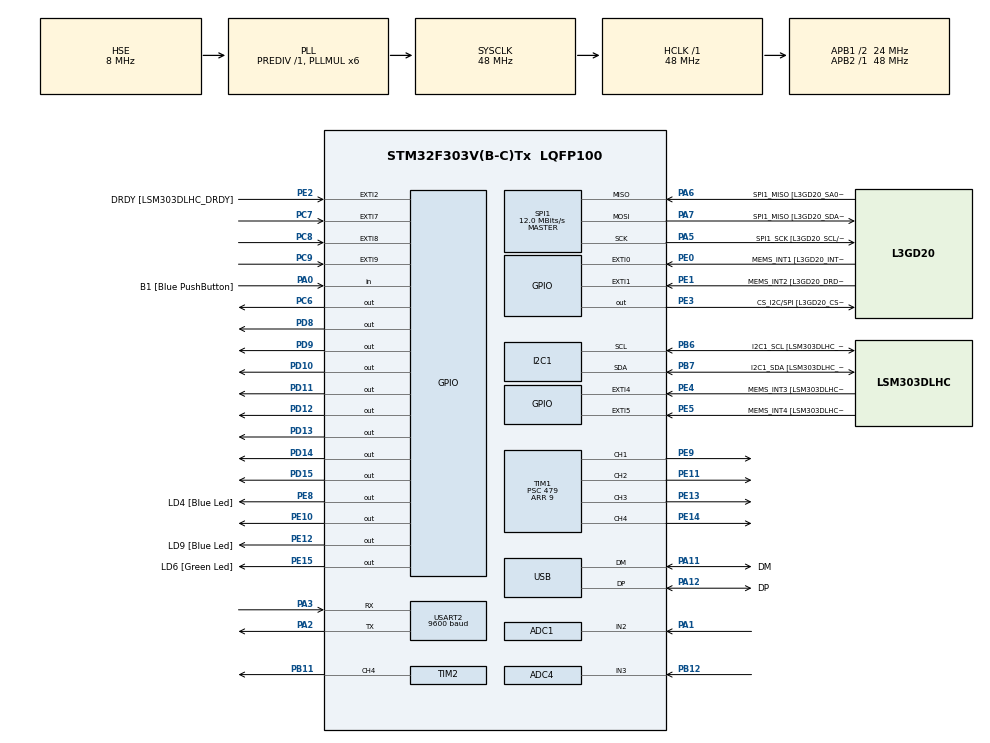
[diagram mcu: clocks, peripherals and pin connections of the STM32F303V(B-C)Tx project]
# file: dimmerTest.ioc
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ADC1.Channel-0\#ChannelRegularConversion=ADC_CHANNEL_2
ADC1.ClockPrescaler=ADC_CLOCK_SYNC_PCLK_DIV4
ADC1.NbrOfConversion=1
ADC1.NbrOfConversionFlag=1
ADC1.Offset-0\#ChannelRegularConversion=0
ADC1.OffsetNumber-0\#ChannelRegularConversion=ADC_OFFSET_NONE
ADC1.Rank-0\#ChannelRegularConversion=1
ADC1.SamplingTime-0\#ChannelRegularConversion=ADC_SAMPLETIME_601CYCLES_5
ADC1.master=1
ADC4.Channel-0\#ChannelRegularConversion=ADC_CHANNEL_3
ADC4.ClockPrescaler=ADC_CLOCK_SYNC_PCLK_DIV4
ADC4.NbrOfConversionFlag=1
ADC4.Offset-0\#ChannelRegularConversion=0
ADC4.OffsetNumber-0\#ChannelRegularConversion=ADC_OFFSET_NONE
ADC4.Rank-0\#ChannelRegularConversion=1
ADC4.Resolution=ADC_RESOLUTION_10B
ADC4.SamplingTime-0\#ChannelRegularConversion=ADC_SAMPLETIME_601CYCLES_5
ADC4.SamplingTimeOPAMP-0\#ChannelRegularConversion=ADC_SAMPLETIME_19CYCLES_5
I2C1.Timing-I2C=0x2000090E
Mcu.Family=STM32F3
Mcu.Name=STM32F303V(B-C)Tx
Mcu.Package=LQFP100
NVIC.ADC1_2_IRQn=true\:1\:0\:true\:false\:true\:true\:true\:true
NVIC.ADC4_IRQn=true\:0\:0\:false\:false\:true\:true\:true\:true
NVIC.EXTI9_5_IRQn=true\:0\:0\:false\:false\:true\:true\:true\:true
NVIC.PriorityGroup=NVIC_PRIORITYGROUP_2
NVIC.TIM1_BRK_TIM15_IRQn=true\:0\:0\:false\:false\:true\:true\:true\:true
NVIC.TIM1_CC_IRQn=true\:0\:0\:false\:false\:true\:true\:true\:true
NVIC.TIM1_TRG_COM_TIM17_IRQn=true\:0\:0\:false\:false\:true\:true\:true\:true
NVIC.TIM1_UP_TIM16_IRQn=true\:0\:0\:false\:false\:true\:true\:true\:true
NVIC.TIM3_IRQn=true\:0\:0\:false\:false\:true\:true\:true\:true
NVIC.USART2_IRQn=true\:0\:0\:false\:false\:true\:true\:true\:true
PA0.GPIO_Label=B1 [Blue PushButton]
PA0.Signal=GPIO_Input
PA1.Mode=IN2-Single-Ended
PA1.Signal=ADC1_IN2
PA11.GPIO_Label=DM
PA11.Mode=Device
PA11.Signal=USB_DM
PA12.GPIO_Label=DP
PA12.Mode=Device
PA12.Signal=USB_DP
PA13.GPIO_Label=SWDIO
PA13.Mode=Serial_Wire
PA13.Signal=SYS_JTMS-SWDIO
PA14.GPIO_Label=SWCLK
PA14.Mode=Serial_Wire
PA14.Signal=SYS_JTCK-SWCLK
PA2.Mode=Asynchronous
PA2.Signal=USART2_TX
PA3.Mode=Asynchronous
PA3.Signal=USART2_RX
PA5.GPIO_Label=SPI1_SCK [L3GD20_SCL/SPC]
PA5.Mode=Full_Duplex_Master
PA5.Signal=SPI1_SCK
PA6.GPIO_Label=SPI1_MISO [L3GD20_SA0/SDO]
PA6.Mode=Full_Duplex_Master
PA6.Signal=SPI1_MISO
PA7.GPIO_Label=SPI1_MISO [L3GD20_SDA/SDI/SDO]
PA7.Mode=Full_Duplex_Master
PA7.Signal=SPI1_MOSI
PB11.Signal=S_TIM2_CH4
PB12.Mode=IN3-Single-Ended
PB12.Signal=ADC4_IN3
PB3.GPIO_Label=SWO
PB3.Signal=SYS_JTDO-TRACESWO
PB6.GPIO_Label=I2C1_SCL [LSM303DLHC_SCL]
PB6.GPIO_Pu=GPIO_PULLUP
PB6.Mode=I2C
PB6.Signal=I2C1_SCL
PB7.GPIO_Label=I2C1_SDA [LSM303DLHC_SDA]
PB7.GPIO_Pu=GPIO_PULLUP
PB7.Mode=I2C
PB7.Signal=I2C1_SDA
PC14-OSC32_IN.GPIO_Label=OSC32_IN
PC14-OSC32_IN.Signal=RCC_OSC32_IN
PC15-OSC32_OUT.GPIO_Label=OSC32_OUT
PC15-OSC32_OUT.Signal=RCC_OSC32_OUT
PC6.Signal=GPIO_Output
PC7.GPIO_PuPd=GPIO_PULLUP
PC7.Signal=GPXTI7
PC8.GPIO_PuPd=GPIO_PULLUP
PC8.Signal=GPXTI8
PC9.GPIO_PuPd=GPIO_PULLUP
PC9.Signal=GPXTI9
PD10.Signal=GPIO_Output
PD11.Signal=GPIO_Output
PD12.Signal=GPIO_Output
PD13.Signal=GPIO_Output
PD14.Signal=GPIO_Output
PD15.Signal=GPIO_Output
PD8.Signal=GPIO_Output
PD9.Signal=GPIO_Output
PE0.GPIO_Label=MEMS_INT1 [L3GD20_INT1]
PE0.GPIO_ModeDefaultEXTI=GPIO_MODE_EVT_RISING
PE0.Signal=GPXTI0
PE1.GPIO_Label=MEMS_INT2 [L3GD20_DRDY/INT2]
PE1.GPIO_ModeDefaultEXTI=GPIO_MODE_EVT_RISING
PE1.Signal=GPXTI1
PE10.Signal=GPIO_Output
PE11.Signal=S_TIM1_CH2
PE12.GPIO_Label=LD9 [Blue Led]
PE12.Signal=GPIO_Output
PE13.Signal=S_TIM1_CH3
PE14.Signal=S_TIM1_CH4
PE15.GPIO_Label=LD6 [Green Led]
PE15.Signal=GPIO_Output
PE2.GPIO_Label=DRDY [LSM303DLHC_DRDY]
PE2.GPIO_ModeDefaultEXTI=GPIO_MODE_EVT_RISING
PE2.Signal=GPXTI2
PE3.GPIO_Label=CS_I2C/SPI [L3GD20_CS_I2C/SPI]
PE3.Signal=GPIO_Output
PE4.GPIO_Label=MEMS_INT3 [LSM303DLHC_INT1]
PE4.GPIO_ModeDefaultEXTI=GPIO_MODE_EVT_RISING
PE4.Signal=GPXTI4
PE5.GPIO_Label=MEMS_INT4 [LSM303DLHC_INT2]
PE5.GPIO_ModeDefaultEXTI=GPIO_MODE_EVT_RISING
PE5.Signal=GPXTI5
PE8.GPIO_Label=LD4 [Blue Led]
PE8.Signal=GPIO_Output
PE9.Signal=S_TIM1_CH1
PF0-OSC_IN.GPIO_Label=OSC_IN
PF0-OSC_IN.Mode=HSE-External-Clock-Source
PF0-OSC_IN.Signal=RCC_OSC_IN
PF1-OSC_OUT.GPIO_Label=OSC_OUT
PF1-OSC_OUT.Signal=RCC_OSC_OUT
ProjectManager.HeapSize=0x200
ProjectManager.StackSize=0x400
ProjectManager.TargetToolchain=STM32CubeIDE
RCC.AHBFreq_Value=48000000
RCC.APB1CLKDivider=RCC_HCLK_DIV2
RCC.APB1Freq_Value=24000000
RCC.APB1TimFreq_Value=48000000
RCC.APB2Freq_Value=48000000
RCC.APB2TimFreq_Value=48000000
RCC.CortexFreq_Value=48000000
RCC.HCLKFreq_Value=48000000
RCC.HSE_VALUE=8000000
RCC.HSI_VALUE=8000000
RCC.LSE_VALUE=32768
RCC.PLLMUL=RCC_PLL_MUL6
RCC.SYSCLKFreq_VALUE=48000000
RCC.SYSCLKSourceVirtual=RCC_SYSCLKSOURCE_PLLCLK
RCC.USBFreq_Value=48000000
SH.S_TIM1_CH1.0=TIM1_CH1,PWM Generation1 CH1
SH.S_TIM1_CH2.0=TIM1_CH2,PWM Generation2 CH2
SH.S_TIM1_CH3.0=TIM1_CH3,PWM Generation3 CH3
SH.S_TIM1_CH4.0=TIM1_CH4,PWM Generation4 CH4
SH.S_TIM2_CH4.0=TIM2_CH4,PWM Generation4 CH4
SPI1.BaudRatePrescaler=SPI_BAUDRATEPRESCALER_4
SPI1.BaudRatePrescaler-Full_Duplex_Master=SPI_BAUDRATEPRESCALER_2
SPI1.CalculateBaudRate=12.0 MBits/s
SPI1.CalculateBaudRate-Full_Duplex_Master=24.0 MBits/s
SPI1.Direction=SPI_DIRECTION_2LINES
SPI1.Mode=SPI_MODE_MASTER
SPI1.Mode-Full_Duplex_Master=SPI_MODE_MASTER
SPI1.VirtualType=VM_MASTER
TIM1.Channel-PWM\ Generation1\ CH1=TIM_CHANNEL_1
TIM1.Channel-PWM\ Generation2\ CH2=TIM_CHANNEL_2
TIM1.Channel-PWM\ Generation3\ CH3=TIM_CHANNEL_3
TIM1.Channel-PWM\ Generation4\ CH4=TIM_CHANNEL_4
TIM1.Period=9
TIM1.Prescaler=479
TIM2.Channel-PWM\ Generation4\ CH4=TIM_CHANNEL_4
TIM3.Period=999
TIM3.Prescaler=47
USART2.BaudRate=9600
USART2.VirtualMode-Asynchronous=VM_ASYNC
VP_TIM1_VS_ClockSourceINT.Mode=Internal
VP_TIM3_VS_ClockSourceINT.Mode=Internal
board=STM32F3DISCOVERY

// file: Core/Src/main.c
/* USER CODE BEGIN Header */
/**
  ******************************************************************************
  * @file           : main.c
  * @brief          : Main program body
  ******************************************************************************
  * @attention
  *
  * Copyright (c) 2023 STMicroelectronics.
  * All rights reserved.
  *
  * This software is licensed under terms that can be found in the LICENSE file
  * in the root directory of this software component.
  * If no LICENSE file comes with this software, it is provided AS-IS.
  *
  ******************************************************************************
  */
/* USER CODE END Header */
#include "main.h"

/* USER CODE BEGIN Includes */
#include "string.h"
/* USER CODE END Includes */

ADC_HandleTypeDef hadc1;
ADC_HandleTypeDef hadc4;

I2C_HandleTypeDef hi2c1;

SPI_HandleTypeDef hspi1;

TIM_HandleTypeDef htim1;
TIM_HandleTypeDef htim2;
TIM_HandleTypeDef htim3;

UART_HandleTypeDef huart2;

PCD_HandleTypeDef hpcd_USB_FS;

void SystemClock_Config(void);
static void MX_GPIO_Init(void);
static void MX_I2C1_Init(void);
static void MX_SPI1_Init(void);
static void MX_USB_PCD_Init(void);
static void MX_ADC1_Init(void);
static void MX_USART2_UART_Init(void);
static void MX_TIM1_Init(void);
static void MX_TIM2_Init(void);
static void MX_TIM3_Init(void);
static void MX_ADC4_Init(void);

/* USER CODE BEGIN 0 */

enum log_info{
	DIGIT_CHANGED,
	DIGIT_INCREASED,
	DIGIT_DECREASED,
	WAVE_CHANGED,
	DIMSTEP_INCREASED,
	DIMSTEP_DECREASED,
	NOT_VALID_VALUE,
	CRITICAL_SITUATION
};

typedef struct
{
    uint16_t frequency;
    uint16_t duration;
} Tone;

TIM_HandleTypeDef *pwm_timer = &htim2;	// Point to PWM Timer configured in CubeMX
uint32_t pwm_channel = TIM_CHANNEL_4;   // Select configured PWM channel number
uint32_t volume = 50;

int dimstep = 9;
int dim_v = 0;
int lights = 4;
int warnnum = 1;
int warncount = 0;
unsigned char in_data[100];
unsigned char message[50];
int treshhold = 0;
int env_light = -1;
int warnsit = 0;
int calib_input = 0;
int calibrating = 1;

Tone sinusoid[200];
Tone ramp[200];
Tone ustep[200];

const float pi = 3.1415;
const float step = 0.031415;

void writeLog(int log_info, int info) {
	switch (log_info) {
	case DIGIT_CHANGED :
			sprintf(message, "[INFO] Digit changed\n");
			break;
	case DIGIT_INCREASED :
			sprintf(message, "[INFO] Digit %d Increased\n", info);
			break;
	case DIGIT_DECREASED :
			sprintf(message, "[INFO] Digit %d Decreased\n", info);
			break;
	case WAVE_CHANGED :
			sprintf(message, "[INFO] Wave changed to %s\n", ( (info == 1) ? "sinusoid" : (info == 2) ? "step" : "ramp") );
			break;
	case DIMSTEP_INCREASED :
			sprintf(message, "[INFO] DimStep increased\n");
			break;
	case DIMSTEP_DECREASED :
			sprintf(message, "[INFO] DimStep decreased\n");
			break;
	case NOT_VALID_VALUE :
			sprintf(message, "[ERR] Not valid Value\n");
			break;
	case CRITICAL_SITUATION :
			sprintf(message, "[WARN] Critical Situation. Light value:%d\n", info);
			break;
	default :
			sprintf(message, "Unknown message\n");
			break;
	}
	HAL_UART_Transmit(&huart2, message, strlen(message), 1000);
}

void HAL_TIM_PeriodElapsedCallback(TIM_HandleTypeDef *htim)
{
	static uint32_t current_time = 0;
	static uint32_t current_tone_index = 0;
    if (htim->Instance == TIM3) {

    	if(warnsit && HAL_GetTick() - current_time > 5) {
    		current_tone_index = (current_tone_index + 1) % 200;
    		if (warnnum == 1)
    			PWM_Change_Tone(sinusoid[current_tone_index].frequency, volume);
    		else if (warnnum == 2)
    			PWM_Change_Tone(ustep[current_tone_index].frequency, volume);
    		else if (warnnum == 3)
    			PWM_Change_Tone(ramp[current_tone_index].frequency, volume);
    		current_time = HAL_GetTick();
    	}
    }
}

void Buzzer_PWM_Start()
{
    HAL_TIM_PWM_Start(pwm_timer, pwm_channel);
}

void Buzzer_PWM_Stop()
{
    HAL_TIM_PWM_Stop(pwm_timer, pwm_channel);
}

void PWM_Change_Tone(uint16_t pwm_freq, uint16_t volume) // pwm_freq (1 - 20000), volume (0 - 1000)
{
    if (pwm_freq == 0 || pwm_freq > 20000)
    {
        __HAL_TIM_SET_COMPARE(pwm_timer, pwm_channel, 0);
    }
    else
    {
        const uint32_t internal_clock_freq = HAL_RCC_GetSysClockFreq();
        const uint16_t prescaler = 1 + internal_clock_freq / pwm_freq / 60000;
        const uint32_t timer_clock = internal_clock_freq / prescaler;
        const uint32_t period_cycles = timer_clock / pwm_freq;
        const uint32_t pulse_width = volume * period_cycles / 1000 / 2;

        pwm_timer->Instance->PSC = prescaler - 1;
        pwm_timer->Instance->ARR = period_cycles - 1;
        pwm_timer->Instance->EGR = TIM_EGR_UG;
        __HAL_TIM_SET_COMPARE(pwm_timer, pwm_channel, pulse_width); // pwm_timer->Instance->CCR2 = pulse_width;
    }
}

int last_warn_change = -300;

void warn(int light) {

	if(HAL_GetTick() - last_warn_change < 300)
		return;
	Buzzer_PWM_Start();
	writeLog(CRITICAL_SITUATION, light);
	HAL_TIM_PWM_Stop(&htim1, TIM_CHANNEL_1);
	HAL_TIM_PWM_Stop(&htim1, TIM_CHANNEL_2);
	HAL_TIM_PWM_Stop(&htim1, TIM_CHANNEL_3);
	HAL_TIM_PWM_Stop(&htim1, TIM_CHANNEL_4);
	warncount++;
	last_warn_change = HAL_GetTick();
}

void warnOff() {

	if(HAL_GetTick() - last_warn_change < 300)
		return;
	Buzzer_PWM_Stop();
	HAL_TIM_PWM_Start(&htim1, TIM_CHANNEL_1);
	HAL_TIM_PWM_Start(&htim1, TIM_CHANNEL_2);
	HAL_TIM_PWM_Start(&htim1, TIM_CHANNEL_3);
	HAL_TIM_PWM_Start(&htim1, TIM_CHANNEL_4);
	PWM_Change_Tone(0, 0);
	last_warn_change = HAL_GetTick();

}

void Update_LEDs(){
	int ccr = dimstep * 10 + (dim_v - 9);
	ccr = ccr < 0 ? 0 : ccr;
	TIM1->CCR1 = (lights >= 1) ? ccr : 0;
	TIM1->CCR2 = (lights >= 2) ? ccr : 0;
	TIM1->CCR3 = (lights >= 3) ? ccr : 0;
	TIM1->CCR4 = (lights >= 4) ? ccr : 0;
}

void HAL_ADC_ConvCpltCallback(ADC_HandleTypeDef* hadc)
{
	if (hadc->Instance == ADC1){
		static int adc1_call_counter = 0;
		static int sample = 0;
		static int buff[10];
		int x;
		if (adc1_call_counter < 1000){
			adc1_call_counter++;
			HAL_ADC_Start_IT(&hadc1);
			return;
		}
		adc1_call_counter = 0;
		buff[sample] = HAL_ADC_GetValue(&hadc1);
		sample += 1;
		if(sample == 10) {
			sample = 0;
			x = 0;
			for(int i = 0; i < 10; ++i) {
				x = (x > buff[i]) ? x : buff[i];
			}

			// Save env_light once if calibrating
			if (calibrating == 1){
				if (env_light == -1){
					env_light = HAL_ADC_GetValue(&hadc1);
					sprintf(message, "env_light=%d\n", env_light);
					HAL_UART_Transmit(&huart2, message, strlen(message), 1000);
				}
				// Stop ADC IT execution, until restarted in external interrupt handler (any key press)
				return;
			}

			if(x > treshhold && warnsit == 0) {
					warnsit = 1;
					warn(x);
			} else if(x <= treshhold && warnsit == 1) {
				warnOff();
				warnsit = 0;
			}
		}
		HAL_ADC_Start_IT(&hadc1);
	}
	else if (hadc->Instance == ADC4){
		static int adc4_call_counter = 0;
		if (adc4_call_counter < 10000){
			adc4_call_counter++;
			HAL_ADC_Start_IT(&hadc4);
			return;
		}
		adc4_call_counter = 0;
		int adc4_value = HAL_ADC_GetValue(&hadc4);
		if (calibrating == 1){
			// Remove mod 20
			calib_input = adc4_value - (adc4_value % 20);
		}
		else{
			adc4_value = adc4_value / 1024.0 * 18; // [0-18] range
			if (dim_v != adc4_value){
				dim_v = adc4_value;
				Update_LEDs();
			}
		}
		HAL_ADC_Start_IT(&hadc4);
	}
}

void setDimstep(int val) {
	if(val >= 0 && val <= 9) {
		if(val > dimstep)
			writeLog(DIMSTEP_INCREASED, 0);
		else
			writeLog(DIMSTEP_DECREASED, 0);
		dimstep = val;
		Update_LEDs();
	} else {
		writeLog(NOT_VALID_VALUE, 0);
	}
}

void setLights(int val) {
	if(val >= 0 && val <= 4) {
		lights = val;
		Update_LEDs();
	}
	else {
		writeLog(NOT_VALID_VALUE, 0);
	}
}

void setWarnnum(int val) {
	if(val >= 1 && val <= 3) {
		warnnum = val;
		writeLog(WAVE_CHANGED, warnnum);
	}
	else {
		writeLog(NOT_VALID_VALUE, 0);
	}
}

void HAL_UART_RxCpltCallback(UART_HandleTypeDef *huart)
{

    if (huart->Instance == USART2)
    {
    	static unsigned char command[10];
    	static int in_val;
    	if(in_data[0] == 'D') {
    		HAL_UART_Receive(&huart2, in_data, 1, 100);
    		message[0] = '\n';
    		HAL_UART_Transmit(&huart2, message, 1, 100);
    		in_val = in_data[0] - '0';
    		setDimstep(in_val);
    	}
    	else if(in_data[0] == 'L') {
    		message[0] = '\n';
    		HAL_UART_Transmit(&huart2, message, 1, 100);
    		in_val = in_data[7] - '0';
    		setLights(in_val);
    	}
    	else if(in_data[0] == 'W') {
    		HAL_UART_Receive(&huart2, in_data, 1, 100);
    		in_val = in_data[0] - '0';
    		setWarnnum(in_val);
    	}
    	sprintf(message, "\n");
    	HAL_UART_Transmit(&huart2, message, 1, 1000);
    	HAL_UART_Receive_IT(&huart2, in_data, 8);

    }
}
void display_digit(int n, int d, int delay, int dp){
	// Which of the four digits is this
	// Active high 7-segment, low pin -> digit on
    HAL_GPIO_WritePin(GPIOD, GPIO_PIN_12, d == 0 ? 0 : 1);
    HAL_GPIO_WritePin(GPIOD, GPIO_PIN_13, d == 1 ? 0 : 1);
    HAL_GPIO_WritePin(GPIOD, GPIO_PIN_14, d == 2 ? 0 : 1);
    HAL_GPIO_WritePin(GPIOD, GPIO_PIN_15, d == 3 ? 0 : 1);

    // ABCD BCD Output
    HAL_GPIO_WritePin(GPIOD, GPIO_PIN_8, (n == 1 || n == 3 || n == 5 || n == 7 || n == 9));
    HAL_GPIO_WritePin(GPIOD, GPIO_PIN_9, (n == 2 || n == 3 || n == 6 || n == 7));
    HAL_GPIO_WritePin(GPIOD, GPIO_PIN_10, (n == 4 || n == 5 || n == 6 || n == 7));
    HAL_GPIO_WritePin(GPIOD, GPIO_PIN_11, (n == 8 || n == 9));

    // Is decimal point on or off for digit?
    HAL_GPIO_WritePin(GPIOC, GPIO_PIN_6, dp == 1 ? 1 : 0);
    HAL_Delay(delay);
  }
int selected = 1;
uint32_t last_interrupt = 0;
void HAL_GPIO_EXTI_Callback(uint16_t GPIO_Pin){
	if (last_interrupt == 0)
		last_interrupt = HAL_GetTick();
	else if (HAL_GetTick()-last_interrupt < 200){
		return;
	}
	else
		last_interrupt = HAL_GetTick();

	// Press any key to finish calibrating
	if (calibrating == 1){
		treshhold = env_light+calib_input;
		sprintf(message, "threshold=%d\n", treshhold);
		HAL_UART_Transmit(&huart2, message, strlen(message), 1000);
		End_Calibrate();
		return;
	}
	if (GPIO_Pin == GPIO_PIN_7){
		if (selected == 1)
		  selected = 3;
		else
		  selected -= 1;
	}
	if (GPIO_Pin == GPIO_PIN_8){
		writeLog(DIGIT_CHANGED, 0);
		writeLog(DIGIT_INCREASED, selected);
		if (selected == 1){
			setWarnnum((warnnum < 3 ? warnnum + 1 : 1));
		}
		else if (selected == 2){
			setLights((lights + 1) % 5);
		}
		else if (selected == 3){
			setDimstep((dimstep + 1) % 10);
		}
	}
	if (GPIO_Pin == GPIO_PIN_9){
		writeLog(DIGIT_CHANGED, 0);
		writeLog(DIGIT_DECREASED, selected);
		if (selected == 1){
			warnnum = warnnum >  1 ? warnnum - 1 : 3;
		}
		else if (selected == 2){
			setLights(lights > 0 ? lights - 1 : 4);
		}
		else if (selected == 3){
			setDimstep(dimstep > 0 ? dimstep - 1 : 9);
		}
	}
}
void End_Calibrate(){
	// Turn on lights
	setDimstep(dimstep);
	HAL_TIM_PWM_Start(&htim1, TIM_CHANNEL_1);
	HAL_TIM_PWM_Start(&htim1, TIM_CHANNEL_2);
	HAL_TIM_PWM_Start(&htim1, TIM_CHANNEL_3);
	HAL_TIM_PWM_Start(&htim1, TIM_CHANNEL_4);
	// Turn on UART Receive
	HAL_UART_Receive_IT(&huart2, in_data, 8);
	// Restart ADC1 (LDR)
	HAL_ADC_Start_IT(&hadc1);

	calibrating = 0;
}
/* USER CODE END 0 */

int main(void)
{
  /* USER CODE BEGIN 1 */
	double f = 0;
	for(int i = 0; i < 200; ++i) {
		sinusoid[i].frequency = round(sin(f) * 2000 + 2000);
		sinusoid[i].duration = 5;
		f += step;
	}

	for(int i = 0; i < 200; ++i) {
		ramp[i].frequency = i * 20;
		ramp[i].duration = 5;
	}

	for(int i = 0; i < 200; ++i) {
		ustep[i].frequency = (i < 100) ? 10 : 4000;
		ustep[i].duration = 5;
	}

  /* USER CODE END 1 */

  /* MCU Configuration--------------------------------------------------------*/

  /* Reset of all peripherals, Initializes the Flash interface and the Systick. */
  HAL_Init();

  /* Configure the system clock */
  SystemClock_Config();

  /* Initialize all configured peripherals */
  MX_GPIO_Init();
  MX_I2C1_Init();
  MX_SPI1_Init();
  MX_USB_PCD_Init();
  MX_ADC1_Init();
  MX_USART2_UART_Init();
  MX_TIM1_Init();
  MX_TIM2_Init();
  MX_TIM3_Init();
  MX_ADC4_Init();

  /* Infinite loop */
  /* USER CODE BEGIN WHILE */

  HAL_ADC_Start_IT(&hadc1);
  HAL_ADC_Start_IT(&hadc4);
  HAL_TIM_Base_Start_IT(&htim3);

  while (1)
  {

    /* USER CODE END WHILE */

    /* USER CODE BEGIN 3 */
	  if (calibrating == 1){
		  display_digit(calib_input % 10, 0, 2, 0);
		  display_digit((calib_input / 10) % 10, 1, 2, 0);
		  display_digit((calib_input / 100) % 10, 2, 2, 0);
		  display_digit((calib_input / 1000) % 10, 3, 2, 0);
	  }
	  else{
		  display_digit(warncount, 0, 2, selected == 0);
		  display_digit(warnnum, 1, 2, selected == 1);
		  display_digit(lights, 2, 2, selected == 2);
		  display_digit(dimstep, 3, 2, selected == 3);
	  }
  }
  /* USER CODE END 3 */
}

void SystemClock_Config(void)
{
  RCC_OscInitTypeDef RCC_OscInitStruct = {0};
  RCC_ClkInitTypeDef RCC_ClkInitStruct = {0};
  RCC_PeriphCLKInitTypeDef PeriphClkInit = {0};

  /** Initializes the RCC Oscillators according to the specified parameters
  * in the RCC_OscInitTypeDef structure.
  */
  RCC_OscInitStruct.OscillatorType = RCC_OSCILLATORTYPE_HSI|RCC_OSCILLATORTYPE_HSE;
  RCC_OscInitStruct.HSEState = RCC_HSE_BYPASS;
  RCC_OscInitStruct.HSEPredivValue = RCC_HSE_PREDIV_DIV1;
  RCC_OscInitStruct.HSIState = RCC_HSI_ON;
  RCC_OscInitStruct.HSICalibrationValue = RCC_HSICALIBRATION_DEFAULT;
  RCC_OscInitStruct.PLL.PLLState = RCC_PLL_ON;
  RCC_OscInitStruct.PLL.PLLSource = RCC_PLLSOURCE_HSE;
  RCC_OscInitStruct.PLL.PLLMUL = RCC_PLL_MUL6;
  if (HAL_RCC_OscConfig(&RCC_OscInitStruct) != HAL_OK)
  {
    Error_Handler();
  }

  /** Initializes the CPU, AHB and APB buses clocks
  */
  RCC_ClkInitStruct.ClockType = RCC_CLOCKTYPE_HCLK|RCC_CLOCKTYPE_SYSCLK
                              |RCC_CLOCKTYPE_PCLK1|RCC_CLOCKTYPE_PCLK2;
  RCC_ClkInitStruct.SYSCLKSource = RCC_SYSCLKSOURCE_PLLCLK;
  RCC_ClkInitStruct.AHBCLKDivider = RCC_SYSCLK_DIV1;
  RCC_ClkInitStruct.APB1CLKDivider = RCC_HCLK_DIV2;
  RCC_ClkInitStruct.APB2CLKDivider = RCC_HCLK_DIV1;

  if (HAL_RCC_ClockConfig(&RCC_ClkInitStruct, FLASH_LATENCY_1) != HAL_OK)
  {
    Error_Handler();
  }
  PeriphClkInit.PeriphClockSelection = RCC_PERIPHCLK_USB|RCC_PERIPHCLK_USART2
                              |RCC_PERIPHCLK_I2C1|RCC_PERIPHCLK_TIM1;
  PeriphClkInit.Usart2ClockSelection = RCC_USART2CLKSOURCE_PCLK1;
  PeriphClkInit.I2c1ClockSelection = RCC_I2C1CLKSOURCE_HSI;
  PeriphClkInit.USBClockSelection = RCC_USBCLKSOURCE_PLL;
  PeriphClkInit.Tim1ClockSelection = RCC_TIM1CLK_HCLK;
  if (HAL_RCCEx_PeriphCLKConfig(&PeriphClkInit) != HAL_OK)
  {
    Error_Handler();
  }
}

static void MX_ADC1_Init(void)
{

  ADC_MultiModeTypeDef multimode = {0};
  ADC_ChannelConfTypeDef sConfig = {0};

  /** Common config
  */
  hadc1.Instance = ADC1;
  hadc1.Init.ClockPrescaler = ADC_CLOCK_SYNC_PCLK_DIV4;
  hadc1.Init.Resolution = ADC_RESOLUTION_12B;
  hadc1.Init.ScanConvMode = ADC_SCAN_DISABLE;
  hadc1.Init.ContinuousConvMode = DISABLE;
  hadc1.Init.DiscontinuousConvMode = DISABLE;
  hadc1.Init.ExternalTrigConvEdge = ADC_EXTERNALTRIGCONVEDGE_NONE;
  hadc1.Init.ExternalTrigConv = ADC_SOFTWARE_START;
  hadc1.Init.DataAlign = ADC_DATAALIGN_RIGHT;
  hadc1.Init.NbrOfConversion = 1;
  hadc1.Init.DMAContinuousRequests = DISABLE;
  hadc1.Init.EOCSelection = ADC_EOC_SINGLE_CONV;
  hadc1.Init.LowPowerAutoWait = DISABLE;
  hadc1.Init.Overrun = ADC_OVR_DATA_OVERWRITTEN;
  if (HAL_ADC_Init(&hadc1) != HAL_OK)
  {
    Error_Handler();
  }

  /** Configure the ADC multi-mode
  */
  multimode.Mode = ADC_MODE_INDEPENDENT;
  if (HAL_ADCEx_MultiModeConfigChannel(&hadc1, &multimode) != HAL_OK)
  {
    Error_Handler();
  }

  /** Configure Regular Channel
  */
  sConfig.Channel = ADC_CHANNEL_2;
  sConfig.Rank = ADC_REGULAR_RANK_1;
  sConfig.SingleDiff = ADC_SINGLE_ENDED;
  sConfig.SamplingTime = ADC_SAMPLETIME_601CYCLES_5;
  sConfig.OffsetNumber = ADC_OFFSET_NONE;
  sConfig.Offset = 0;
  if (HAL_ADC_ConfigChannel(&hadc1, &sConfig) != HAL_OK)
  {
    Error_Handler();
  }

}

static void MX_ADC4_Init(void)
{

  ADC_ChannelConfTypeDef sConfig = {0};

  /** Common config
  */
  hadc4.Instance = ADC4;
  hadc4.Init.ClockPrescaler = ADC_CLOCK_SYNC_PCLK_DIV4;
  hadc4.Init.Resolution = ADC_RESOLUTION_10B;
  hadc4.Init.ScanConvMode = ADC_SCAN_DISABLE;
  hadc4.Init.ContinuousConvMode = DISABLE;
  hadc4.Init.DiscontinuousConvMode = DISABLE;
  hadc4.Init.ExternalTrigConvEdge = ADC_EXTERNALTRIGCONVEDGE_NONE;
  hadc4.Init.ExternalTrigConv = ADC_SOFTWARE_START;
  hadc4.Init.DataAlign = ADC_DATAALIGN_RIGHT;
  hadc4.Init.NbrOfConversion = 1;
  hadc4.Init.DMAContinuousRequests = DISABLE;
  hadc4.Init.EOCSelection = ADC_EOC_SINGLE_CONV;
  hadc4.Init.LowPowerAutoWait = DISABLE;
  hadc4.Init.Overrun = ADC_OVR_DATA_OVERWRITTEN;
  if (HAL_ADC_Init(&hadc4) != HAL_OK)
  {
    Error_Handler();
  }

  /** Configure Regular Channel
  */
  sConfig.Channel = ADC_CHANNEL_3;
  sConfig.Rank = ADC_REGULAR_RANK_1;
  sConfig.SingleDiff = ADC_SINGLE_ENDED;
  sConfig.SamplingTime = ADC_SAMPLETIME_601CYCLES_5;
  sConfig.OffsetNumber = ADC_OFFSET_NONE;
  sConfig.Offset = 0;
  if (HAL_ADC_ConfigChannel(&hadc4, &sConfig) != HAL_OK)
  {
    Error_Handler();
  }

}

static void MX_I2C1_Init(void)
{

  hi2c1.Instance = I2C1;
  hi2c1.Init.Timing = 0x2000090E;
  hi2c1.Init.OwnAddress1 = 0;
  hi2c1.Init.AddressingMode = I2C_ADDRESSINGMODE_7BIT;
  hi2c1.Init.DualAddressMode = I2C_DUALADDRESS_DISABLE;
  hi2c1.Init.OwnAddress2 = 0;
  hi2c1.Init.OwnAddress2Masks = I2C_OA2_NOMASK;
  hi2c1.Init.GeneralCallMode = I2C_GENERALCALL_DISABLE;
  hi2c1.Init.NoStretchMode = I2C_NOSTRETCH_DISABLE;
  if (HAL_I2C_Init(&hi2c1) != HAL_OK)
  {
    Error_Handler();
  }

  /** Configure Analogue filter
  */
  if (HAL_I2CEx_ConfigAnalogFilter(&hi2c1, I2C_ANALOGFILTER_ENABLE) != HAL_OK)
  {
    Error_Handler();
  }

  /** Configure Digital filter
  */
  if (HAL_I2CEx_ConfigDigitalFilter(&hi2c1, 0) != HAL_OK)
  {
    Error_Handler();
  }

}

static void MX_SPI1_Init(void)
{

  /* SPI1 parameter configuration*/
  hspi1.Instance = SPI1;
  hspi1.Init.Mode = SPI_MODE_MASTER;
  hspi1.Init.Direction = SPI_DIRECTION_2LINES;
  hspi1.Init.DataSize = SPI_DATASIZE_4BIT;
  hspi1.Init.CLKPolarity = SPI_POLARITY_LOW;
  hspi1.Init.CLKPhase = SPI_PHASE_1EDGE;
  hspi1.Init.NSS = SPI_NSS_SOFT;
  hspi1.Init.BaudRatePrescaler = SPI_BAUDRATEPRESCALER_4;
  hspi1.Init.FirstBit = SPI_FIRSTBIT_MSB;
  hspi1.Init.TIMode = SPI_TIMODE_DISABLE;
  hspi1.Init.CRCCalculation = SPI_CRCCALCULATION_DISABLE;
  hspi1.Init.CRCPolynomial = 7;
  hspi1.Init.CRCLength = SPI_CRC_LENGTH_DATASIZE;
  hspi1.Init.NSSPMode = SPI_NSS_PULSE_ENABLE;
  if (HAL_SPI_Init(&hspi1) != HAL_OK)
  {
    Error_Handler();
  }

}

static void MX_TIM1_Init(void)
{

  TIM_ClockConfigTypeDef sClockSourceConfig = {0};
  TIM_MasterConfigTypeDef sMasterConfig = {0};
  TIM_OC_InitTypeDef sConfigOC = {0};
  TIM_BreakDeadTimeConfigTypeDef sBreakDeadTimeConfig = {0};

  htim1.Instance = TIM1;
  htim1.Init.Prescaler = 479;
  htim1.Init.CounterMode = TIM_COUNTERMODE_UP;
  htim1.Init.Period = 9;
  htim1.Init.ClockDivision = TIM_CLOCKDIVISION_DIV1;
  htim1.Init.RepetitionCounter = 0;
  htim1.Init.AutoReloadPreload = TIM_AUTORELOAD_PRELOAD_DISABLE;
  if (HAL_TIM_Base_Init(&htim1) != HAL_OK)
  {
    Error_Handler();
  }
  sClockSourceConfig.ClockSource = TIM_CLOCKSOURCE_INTERNAL;
  if (HAL_TIM_ConfigClockSource(&htim1, &sClockSourceConfig) != HAL_OK)
  {
    Error_Handler();
  }
  if (HAL_TIM_PWM_Init(&htim1) != HAL_OK)
  {
    Error_Handler();
  }
  sMasterConfig.MasterOutputTrigger = TIM_TRGO_RESET;
  sMasterConfig.MasterOutputTrigger2 = TIM_TRGO2_RESET;
  sMasterConfig.MasterSlaveMode = TIM_MASTERSLAVEMODE_DISABLE;
  if (HAL_TIMEx_MasterConfigSynchronization(&htim1, &sMasterConfig) != HAL_OK)
  {
    Error_Handler();
  }
  sConfigOC.OCMode = TIM_OCMODE_PWM1;
  sConfigOC.Pulse = 0;
  sConfigOC.OCPolarity = TIM_OCPOLARITY_HIGH;
  sConfigOC.OCNPolarity = TIM_OCNPOLARITY_HIGH;
  sConfigOC.OCFastMode = TIM_OCFAST_DISABLE;
  sConfigOC.OCIdleState = TIM_OCIDLESTATE_RESET;
  sConfigOC.OCNIdleState = TIM_OCNIDLESTATE_RESET;
  if (HAL_TIM_PWM_ConfigChannel(&htim1, &sConfigOC, TIM_CHANNEL_1) != HAL_OK)
  {
    Error_Handler();
  }
  if (HAL_TIM_PWM_ConfigChannel(&htim1, &sConfigOC, TIM_CHANNEL_2) != HAL_OK)
  {
    Error_Handler();
  }
  if (HAL_TIM_PWM_ConfigChannel(&htim1, &sConfigOC, TIM_CHANNEL_3) != HAL_OK)
  {
    Error_Handler();
  }
  if (HAL_TIM_PWM_ConfigChannel(&htim1, &sConfigOC, TIM_CHANNEL_4) != HAL_OK)
  {
    Error_Handler();
  }
  sBreakDeadTimeConfig.OffStateRunMode = TIM_OSSR_DISABLE;
  sBreakDeadTimeConfig.OffStateIDLEMode = TIM_OSSI_DISABLE;
  sBreakDeadTimeConfig.LockLevel = TIM_LOCKLEVEL_OFF;
  sBreakDeadTimeConfig.DeadTime = 0;
  sBreakDeadTimeConfig.BreakState = TIM_BREAK_DISABLE;
  sBreakDeadTimeConfig.BreakPolarity = TIM_BREAKPOLARITY_HIGH;
  sBreakDeadTimeConfig.BreakFilter = 0;
  sBreakDeadTimeConfig.Break2State = TIM_BREAK2_DISABLE;
  sBreakDeadTimeConfig.Break2Polarity = TIM_BREAK2POLARITY_HIGH;
  sBreakDeadTimeConfig.Break2Filter = 0;
  sBreakDeadTimeConfig.AutomaticOutput = TIM_AUTOMATICOUTPUT_DISABLE;
  if (HAL_TIMEx_ConfigBreakDeadTime(&htim1, &sBreakDeadTimeConfig) != HAL_OK)
  {
    Error_Handler();
  }
  HAL_TIM_MspPostInit(&htim1);

}

static void MX_TIM2_Init(void)
{

  TIM_MasterConfigTypeDef sMasterConfig = {0};
  TIM_OC_InitTypeDef sConfigOC = {0};

  htim2.Instance = TIM2;
  htim2.Init.Prescaler = 0;
  htim2.Init.CounterMode = TIM_COUNTERMODE_UP;
  htim2.Init.Period = 4294967295;
  htim2.Init.ClockDivision = TIM_CLOCKDIVISION_DIV1;
  htim2.Init.AutoReloadPreload = TIM_AUTORELOAD_PRELOAD_DISABLE;
  if (HAL_TIM_PWM_Init(&htim2) != HAL_OK)
  {
    Error_Handler();
  }
  sMasterConfig.MasterOutputTrigger = TIM_TRGO_RESET;
  sMasterConfig.MasterSlaveMode = TIM_MASTERSLAVEMODE_DISABLE;
  if (HAL_TIMEx_MasterConfigSynchronization(&htim2, &sMasterConfig) != HAL_OK)
  {
    Error_Handler();
  }
  sConfigOC.OCMode = TIM_OCMODE_PWM1;
  sConfigOC.Pulse = 0;
  sConfigOC.OCPolarity = TIM_OCPOLARITY_HIGH;
  sConfigOC.OCFastMode = TIM_OCFAST_DISABLE;
  if (HAL_TIM_PWM_ConfigChannel(&htim2, &sConfigOC, TIM_CHANNEL_4) != HAL_OK)
  {
    Error_Handler();
  }
  HAL_TIM_MspPostInit(&htim2);

}

static void MX_TIM3_Init(void)
{

  TIM_ClockConfigTypeDef sClockSourceConfig = {0};
  TIM_MasterConfigTypeDef sMasterConfig = {0};

  htim3.Instance = TIM3;
  htim3.Init.Prescaler = 47;
  htim3.Init.CounterMode = TIM_COUNTERMODE_UP;
  htim3.Init.Period = 999;
  htim3.Init.ClockDivision = TIM_CLOCKDIVISION_DIV1;
  htim3.Init.AutoReloadPreload = TIM_AUTORELOAD_PRELOAD_DISABLE;
  if (HAL_TIM_Base_Init(&htim3) != HAL_OK)
  {
    Error_Handler();
  }
  sClockSourceConfig.ClockSource = TIM_CLOCKSOURCE_INTERNAL;
  if (HAL_TIM_ConfigClockSource(&htim3, &sClockSourceConfig) != HAL_OK)
  {
    Error_Handler();
  }
  sMasterConfig.MasterOutputTrigger = TIM_TRGO_RESET;
  sMasterConfig.MasterSlaveMode = TIM_MASTERSLAVEMODE_DISABLE;
  if (HAL_TIMEx_MasterConfigSynchronization(&htim3, &sMasterConfig) != HAL_OK)
  {
    Error_Handler();
  }

}

static void MX_USART2_UART_Init(void)
{

  huart2.Instance = USART2;
  huart2.Init.BaudRate = 9600;
  huart2.Init.WordLength = UART_WORDLENGTH_8B;
  huart2.Init.StopBits = UART_STOPBITS_1;
  huart2.Init.Parity = UART_PARITY_NONE;
  huart2.Init.Mode = UART_MODE_TX_RX;
  huart2.Init.HwFlowCtl = UART_HWCONTROL_NONE;
  huart2.Init.OverSampling = UART_OVERSAMPLING_16;
  huart2.Init.OneBitSampling = UART_ONE_BIT_SAMPLE_DISABLE;
  huart2.AdvancedInit.AdvFeatureInit = UART_ADVFEATURE_NO_INIT;
  if (HAL_UART_Init(&huart2) != HAL_OK)
  {
    Error_Handler();
  }

}

static void MX_USB_PCD_Init(void)
{

  hpcd_USB_FS.Instance = USB;
  hpcd_USB_FS.Init.dev_endpoints = 8;
  hpcd_USB_FS.Init.speed = PCD_SPEED_FULL;
  hpcd_USB_FS.Init.phy_itface = PCD_PHY_EMBEDDED;
  hpcd_USB_FS.Init.low_power_enable = DISABLE;
  hpcd_USB_FS.Init.battery_charging_enable = DISABLE;
  if (HAL_PCD_Init(&hpcd_USB_FS) != HAL_OK)
  {
    Error_Handler();
  }

}

static void MX_GPIO_Init(void)
{
  GPIO_InitTypeDef GPIO_InitStruct = {0};

  /* GPIO Ports Clock Enable */
  __HAL_RCC_GPIOE_CLK_ENABLE();
  __HAL_RCC_GPIOC_CLK_ENABLE();
  __HAL_RCC_GPIOF_CLK_ENABLE();
  __HAL_RCC_GPIOA_CLK_ENABLE();
  __HAL_RCC_GPIOB_CLK_ENABLE();
  __HAL_RCC_GPIOD_CLK_ENABLE();

  /*Configure GPIO pin Output Level */
  HAL_GPIO_WritePin(GPIOE, CS_I2C_SPI_Pin|LD4_Pin|GPIO_PIN_10|LD9_Pin
                          |LD6_Pin, GPIO_PIN_RESET);

  /*Configure GPIO pin Output Level */
  HAL_GPIO_WritePin(GPIOD, GPIO_PIN_8|GPIO_PIN_9|GPIO_PIN_10|GPIO_PIN_11
                          |GPIO_PIN_12|GPIO_PIN_13|GPIO_PIN_14|GPIO_PIN_15, GPIO_PIN_RESET);

  /*Configure GPIO pin Output Level */
  HAL_GPIO_WritePin(GPIOC, GPIO_PIN_6, GPIO_PIN_RESET);

  /*Configure GPIO pins : DRDY_Pin MEMS_INT3_Pin MEMS_INT4_Pin MEMS_INT1_Pin
                           MEMS_INT2_Pin */
  GPIO_InitStruct.Pin = DRDY_Pin|MEMS_INT3_Pin|MEMS_INT4_Pin|MEMS_INT1_Pin
                          |MEMS_INT2_Pin;
  GPIO_InitStruct.Mode = GPIO_MODE_EVT_RISING;
  GPIO_InitStruct.Pull = GPIO_NOPULL;
  HAL_GPIO_Init(GPIOE, &GPIO_InitStruct);

  /*Configure GPIO pins : CS_I2C_SPI_Pin LD4_Pin PE10 LD9_Pin
                           LD6_Pin */
  GPIO_InitStruct.Pin = CS_I2C_SPI_Pin|LD4_Pin|GPIO_PIN_10|LD9_Pin
                          |LD6_Pin;
  GPIO_InitStruct.Mode = GPIO_MODE_OUTPUT_PP;
  GPIO_InitStruct.Pull = GPIO_NOPULL;
  GPIO_InitStruct.Speed = GPIO_SPEED_FREQ_LOW;
  HAL_GPIO_Init(GPIOE, &GPIO_InitStruct);

  /*Configure GPIO pin : B1_Pin */
  GPIO_InitStruct.Pin = B1_Pin;
  GPIO_InitStruct.Mode = GPIO_MODE_INPUT;
  GPIO_InitStruct.Pull = GPIO_NOPULL;
  HAL_GPIO_Init(B1_GPIO_Port, &GPIO_InitStruct);

  /*Configure GPIO pins : PD8 PD9 PD10 PD11
                           PD12 PD13 PD14 PD15 */
  GPIO_InitStruct.Pin = GPIO_PIN_8|GPIO_PIN_9|GPIO_PIN_10|GPIO_PIN_11
                          |GPIO_PIN_12|GPIO_PIN_13|GPIO_PIN_14|GPIO_PIN_15;
  GPIO_InitStruct.Mode = GPIO_MODE_OUTPUT_PP;
  GPIO_InitStruct.Pull = GPIO_NOPULL;
  GPIO_InitStruct.Speed = GPIO_SPEED_FREQ_LOW;
  HAL_GPIO_Init(GPIOD, &GPIO_InitStruct);

  /*Configure GPIO pin : PC6 */
  GPIO_InitStruct.Pin = GPIO_PIN_6;
  GPIO_InitStruct.Mode = GPIO_MODE_OUTPUT_PP;
  GPIO_InitStruct.Pull = GPIO_NOPULL;
  GPIO_InitStruct.Speed = GPIO_SPEED_FREQ_LOW;
  HAL_GPIO_Init(GPIOC, &GPIO_InitStruct);

  /*Configure GPIO pins : PC7 PC8 PC9 */
  GPIO_InitStruct.Pin = GPIO_PIN_7|GPIO_PIN_8|GPIO_PIN_9;
  GPIO_InitStruct.Mode = GPIO_MODE_IT_RISING;
  GPIO_InitStruct.Pull = GPIO_PULLUP;
  HAL_GPIO_Init(GPIOC, &GPIO_InitStruct);

  /* EXTI interrupt init*/
  HAL_NVIC_SetPriority(EXTI9_5_IRQn, 0, 0);
  HAL_NVIC_EnableIRQ(EXTI9_5_IRQn);

}

void Error_Handler(void)
{
  __disable_irq();
  while (1)
  {
  }
}
